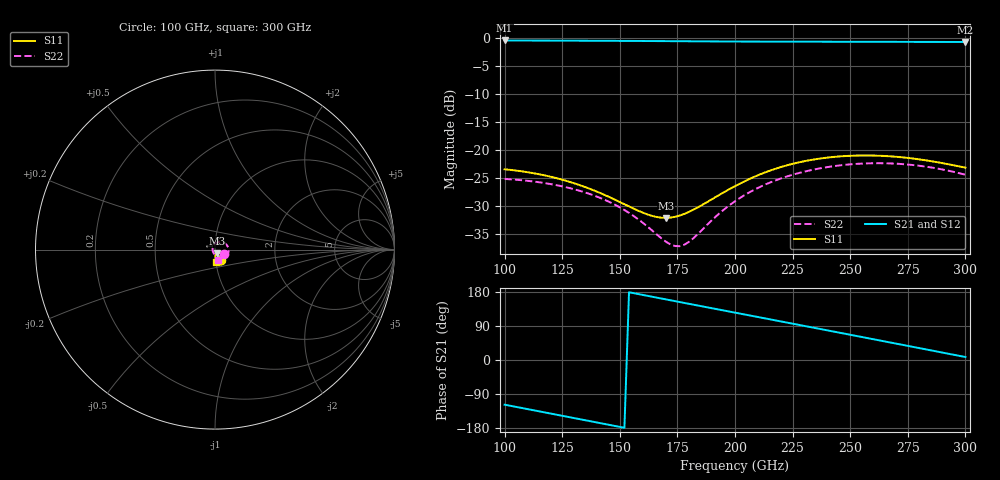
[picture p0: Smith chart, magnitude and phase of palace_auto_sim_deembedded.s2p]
! Created with skrf 1.11.0 (http://scikit-rf.org).
# GHz S DB R 50.0
!freq dBS11 angS11 dBS21 angS21 dBS12 angS12 dBS22 angS22
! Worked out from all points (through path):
!   101 points, 100 GHz to 300 GHz, reference 50 ohm
!   highest |S21| = -0.40 dB at 100 GHz (marker M1); lowest = -0.7 dB at 300 GHz (marker M2)
!   group delay of S21, straight-line fit = 3.25 ps
!   lowest |S11| = -32.2 dB at 170 GHz (marker M3), VSWR 1.05, Z = 51.1 - j2.22 ohm
!   |S11| at or under -10 dB: start of sweep to end of sweep
!   |S22| runs from -37.2 to -22.4 dB; largest |S21 - S12| = 1.1e-14
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100  -23.46 -60.2  -0.40 -117.9  -0.40 -117.9  -25.18 -26.5
108  -23.85 -67.5  -0.41 -127.3  -0.41 -127.3  -25.43 -33.4
118  -24.60 -75.8  -0.43 -139.0  -0.43 -139.0  -25.96 -42.8
134  -26.49 -85.7  -0.45 -157.8  -0.45 -157.8  -27.48 -60.4
144  -28.15 -88.1  -0.47 -169.5  -0.47 -169.5  -29.02 -74.0
152  -29.70 -86.1  -0.48 -178.9  -0.48 -178.9  -30.74 -87.5
162  -31.53 -75.9  -0.50 169.4  -0.50 169.4  -33.70 -111.6
168  -32.11 -65.4  -0.52 162.3  -0.52 162.3  -35.79 -134.5
170  -32.15 -61.4  -0.52 160.0  -0.52 160.0  -36.41 -144.3
174  -31.96 -53.4  -0.53 155.3  -0.53 155.3  -37.19 -167.7
178  -31.44 -46.2  -0.54 150.6  -0.54 150.6  -36.95 167.0
182  -30.68 -40.3  -0.56 145.9  -0.56 145.9  -35.77 144.2
188  -29.30 -34.3  -0.57 138.9  -0.57 138.9  -33.35 118.6
200  -26.47 -31.2  -0.59 125.0  -0.59 125.0  -29.17 86.3
208  -24.87 -33.6  -0.60 115.7  -0.60 115.7  -27.19 70.6
218  -23.30 -39.3  -0.61 104.0  -0.61 104.0  -25.38 53.9
234  -21.72 -50.9  -0.63 85.3  -0.63 85.3  -23.52 29.9
250  -21.04 -62.9  -0.64 66.6  -0.64 66.6  -22.57 6.8
258  -20.99 -68.5  -0.64 57.2  -0.64 57.2  -22.39 -4.9
268  -21.16 -74.8  -0.65 45.5  -0.65 45.5  -22.42 -19.9
284  -21.93 -82.4  -0.66 26.7  -0.66 26.7  -23.05 -45.9
300  -23.16 -85.0  -0.68 7.8  -0.68 7.8  -24.44 -76.2
